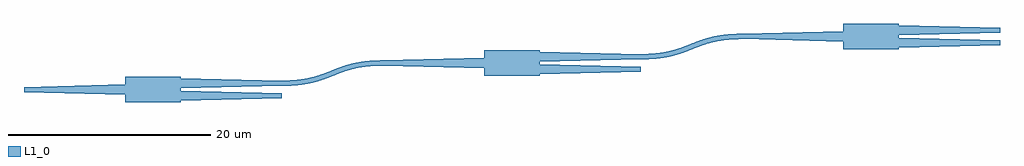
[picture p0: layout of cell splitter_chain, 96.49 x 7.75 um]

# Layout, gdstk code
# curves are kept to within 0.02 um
import gdstk
lib = gdstk.Library(unit=1e-6, precision=1e-09)
def R(c, l, rs):  # rectangles x0, y0, x1, y1
    for r in rs: c.add(gdstk.rectangle(r[:2], r[2:], *l))
def P(c, l, *ps):  # polygons
    for p in ps: c.add(gdstk.Polygon(p, *l))
L1_0 = (1, 0)

splitter_chain = lib.new_cell('splitter_chain')
R(splitter_chain, L1_0, [(10,-1.25,15.496,1.25), (45.496,1.375,50.992,3.875), (80.992,4,86.488,6.5)])
P(splitter_chain, L1_0, [(25.496,-0.875),(15.496,-1.125),(15.496,-0.125),(25.496,-0.375)],
  [(25.496,0.375),(15.496,0.125),(15.496,1.125),(25.496,0.875)],
  [(0,0.25),(10,0.5),(10,-0.5),(0,-0.25)],
  [(35.496,2.375),(34.661,2.355),(33.921,2.297),(33.214,2.199),(32.631,2.08),(31.497,1.743),(29.375,0.937),(28.126,0.607),(26.878,0.432),(25.496,0.375),(25.496,0.875),(26.331,0.895),(27.071,0.953),(27.778,1.051),(28.361,1.17),(29.495,1.507),(31.617,2.313),(32.866,2.643),(34.114,2.818),(35.496,2.875)],
  [(60.992,1.75),(50.992,1.5),(50.992,2.5),(60.992,2.25)],
  [(60.992,3),(50.992,2.75),(50.992,3.75),(60.992,3.5)],
  [(35.496,2.875),(45.496,3.125),(45.496,2.125),(35.496,2.375)],
  [(70.992,5),(70.157,4.98),(69.417,4.922),(68.71,4.824),(68.127,4.705),(66.993,4.368),(64.871,3.562),(63.622,3.232),(62.374,3.057),(60.992,3),(60.992,3.5),(61.827,3.52),(62.567,3.578),(63.274,3.676),(63.857,3.795),(64.991,4.132),(67.113,4.938),(68.362,5.268),(69.61,5.443),(70.992,5.5)],
  [(96.488,4.375),(86.488,4.125),(86.488,5.125),(96.488,4.875)],
  [(96.488,5.625),(86.488,5.375),(86.488,6.375),(96.488,6.125)],
  [(70.992,5.5),(80.992,5.75),(80.992,4.75),(70.992,5)])

lib.write_gds('splitter_chain.gds')
